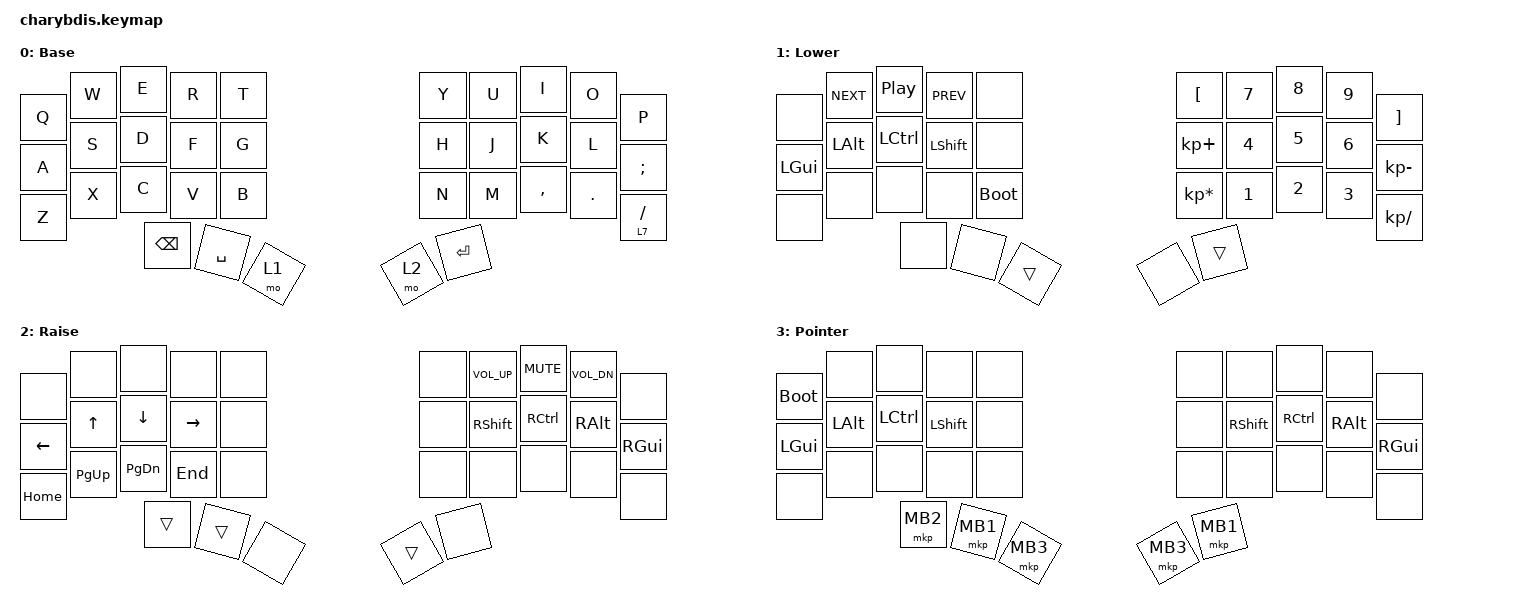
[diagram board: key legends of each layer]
#include <behaviors.dtsi>
#include <dt-bindings/zmk/keys.h>
#include <dt-bindings/zmk/bt.h>
#include <dt-bindings/zmk/mouse.h>

/ {
    trackball_listener {
        compatible = "zmk,input-listener";
        device = <&trackball_split>;
    };

    keymap {
        compatible = "zmk,keymap";

        Base {
            bindings = <
            &kp Q   &kp W   &kp E       &kp R       &kp T           &kp Y     &kp U       &kp I     &kp O       &kp P
            &kp A   &kp S   &kp D       &kp F       &kp G           &kp H     &kp J       &kp K     &kp L    &kp SEMI
            &kp Z   &kp X   &kp C       &kp V       &kp B           &kp N     &kp M   &kp COMMA   &kp DOT &lt 7 SLASH
                            &kp BSPC    &kp SPACE   &mo 1           &mo 2   &kp RET
            >;
        };

        Lower {
            bindings = <
            &none      &kp C_NEXT  &kp C_PP    &kp C_PREV  &none                  &kp LBKT     &kp N7  &kp N8  &kp N9      &kp RBKT
            &kp LGUI   &kp LALT    &kp LCTRL   &kp LSHIFT  &none               &kp KP_PLUS     &kp N4  &kp N5  &kp N6  &kp KP_MINUS
            &none      &none       &none       &none       &bootloader     &kp KP_MULTIPLY     &kp N1  &kp N2  &kp N3  &kp KP_SLASH
                                   &none       &none       &trans                    &none     &trans
            >;
        };

        Raise {
            bindings = <
            &none      &none       &none       &none       &none        &none  &kp C_VOL_UP    &kp C_MUTE  &kp C_VOL_DN       &none
            &kp LEFT   &kp UP      &kp DOWN    &kp RIGHT   &none        &none    &kp RSHIFT     &kp RCTRL      &kp RALT    &kp RGUI
            &kp HOME   &kp PG_UP   &kp PG_DN   &kp END     &none        &none         &none         &none         &none       &none
                                   &trans      &trans      &none       &trans         &none
            >;
        };

        Pointer {
            bindings = <
            &bootloader &none       &none       &none       &none          &none        &none      &none      &none       &none
            &kp LGUI    &kp LALT    &kp LCTRL   &kp LSHIFT  &none          &none   &kp RSHIFT  &kp RCTRL   &kp RALT    &kp RGUI
            &none       &none       &none       &none       &none          &none        &none      &none      &none       &none
                        &mkp MB2    &mkp MB1    &mkp MB3                &mkp MB3     &mkp MB1
            >;
        };
    };
};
